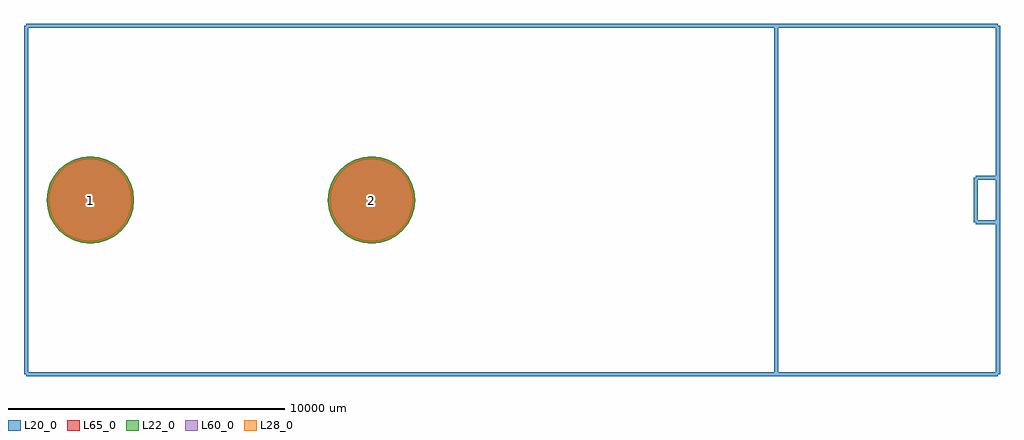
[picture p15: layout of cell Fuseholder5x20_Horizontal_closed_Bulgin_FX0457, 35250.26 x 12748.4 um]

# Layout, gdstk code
import gdstk
lib = gdstk.Library(unit=1e-6, precision=1e-09)
def P(c, l, *ps):  # polygons
    for p in ps: c.add(gdstk.Polygon(p, *l))
L20_0 = (20, 0)
L22_0 = (22, 0)
L28_0 = (28, 0)
L60_0 = (60, 0)
L65_0 = (65, 0)

fuseholder5x20_horizonta = lib.new_cell('Fuseholder5x20_Horizontal_closed_Bulgin_FX0457')
P(fuseholder5x20_horizonta, L22_0, [(-3505.13,0),(-3535.391,307.242),(-3625.01,602.677),(-3770.543,874.951),(-3966.399,1113.601),(-4205.049,1309.457),(-4477.323,1454.99),(-4772.758,1544.609),(-5080,1574.87),(-5387.242,1544.609),(-5682.677,1454.99),(-5954.951,1309.457),(-6193.601,1113.601),(-6389.457,874.951),(-6534.99,602.677),(-6624.609,307.242),(-6654.87,0),(-6624.609,-307.242),(-6534.99,-602.677),(-6389.457,-874.951),(-6193.601,-1113.601),(-5954.951,-1309.457),(-5682.677,-1454.99),(-5387.242,-1544.609),(-5080,-1574.87),(-4772.758,-1544.609),(-4477.323,-1454.99),(-4205.049,-1309.457),(-3966.399,-1113.601),(-3770.543,-874.951),(-3625.01,-602.677),(-3535.391,-307.242)],
  [(6654.87,0),(6624.609,307.242),(6534.99,602.677),(6389.457,874.951),(6193.601,1113.601),(5954.951,1309.457),(5682.677,1454.99),(5387.242,1544.609),(5080,1574.87),(4772.758,1544.609),(4477.323,1454.99),(4205.049,1309.457),(3966.399,1113.601),(3770.543,874.951),(3625.01,602.677),(3535.391,307.242),(3505.13,0),(3535.391,-307.242),(3625.01,-602.677),(3770.543,-874.951),(3966.399,-1113.601),(4205.049,-1309.457),(4477.323,-1454.99),(4772.758,-1544.609),(5080,-1574.87),(5387.242,-1544.609),(5682.677,-1454.99),(5954.951,-1309.457),(6193.601,-1113.601),(6389.457,-874.951),(6534.99,-602.677),(6624.609,-307.242)])
P(fuseholder5x20_horizonta, L28_0, [(-3580.13,0),(-3608.95,292.61),(-3694.301,573.975),(-3832.904,833.283),(-4019.432,1060.568),(-4246.717,1247.096),(-4506.025,1385.699),(-4787.39,1471.05),(-5080,1499.87),(-5372.61,1471.05),(-5653.975,1385.699),(-5913.283,1247.096),(-6140.568,1060.568),(-6327.096,833.283),(-6465.699,573.975),(-6551.05,292.61),(-6579.87,0),(-6551.05,-292.61),(-6465.699,-573.975),(-6327.096,-833.283),(-6140.568,-1060.568),(-5913.283,-1247.096),(-5653.975,-1385.699),(-5372.61,-1471.05),(-5080,-1499.87),(-4787.39,-1471.05),(-4506.025,-1385.699),(-4246.717,-1247.096),(-4019.432,-1060.568),(-3832.904,-833.283),(-3694.301,-573.975),(-3608.95,-292.61)],
  [(6579.87,0),(6551.05,292.61),(6465.699,573.975),(6327.096,833.283),(6140.568,1060.568),(5913.283,1247.096),(5653.975,1385.699),(5372.61,1471.05),(5080,1499.87),(4787.39,1471.05),(4506.025,1385.699),(4246.717,1247.096),(4019.432,1060.568),(3832.904,833.283),(3694.301,573.975),(3608.95,292.61),(3580.13,0),(3608.95,-292.61),(3694.301,-573.975),(3832.904,-833.283),(4019.432,-1060.568),(4246.717,-1247.096),(4506.025,-1385.699),(4787.39,-1471.05),(5080,-1499.87),(5372.61,-1471.05),(5653.975,-1385.699),(5913.283,-1247.096),(6140.568,-1060.568),(6327.096,-833.283),(6465.699,-573.975),(6551.05,-292.61)])
P(fuseholder5x20_horizonta, L60_0, [(-3580.13,0),(-3608.95,292.61),(-3694.301,573.975),(-3832.904,833.283),(-4019.432,1060.568),(-4246.717,1247.096),(-4506.025,1385.699),(-4787.39,1471.05),(-5080,1499.87),(-5372.61,1471.05),(-5653.975,1385.699),(-5913.283,1247.096),(-6140.568,1060.568),(-6327.096,833.283),(-6465.699,573.975),(-6551.05,292.61),(-6579.87,0),(-6551.05,-292.61),(-6465.699,-573.975),(-6327.096,-833.283),(-6140.568,-1060.568),(-5913.283,-1247.096),(-5653.975,-1385.699),(-5372.61,-1471.05),(-5080,-1499.87),(-4787.39,-1471.05),(-4506.025,-1385.699),(-4246.717,-1247.096),(-4019.432,-1060.568),(-3832.904,-833.283),(-3694.301,-573.975),(-3608.95,-292.61)],
  [(6579.87,0),(6551.05,292.61),(6465.699,573.975),(6327.096,833.283),(6140.568,1060.568),(5913.283,1247.096),(5653.975,1385.699),(5372.61,1471.05),(5080,1499.87),(4787.39,1471.05),(4506.025,1385.699),(4246.717,1247.096),(4019.432,1060.568),(3832.904,833.283),(3694.301,573.975),(3608.95,292.61),(3580.13,0),(3608.95,-292.61),(3694.301,-573.975),(3832.904,-833.283),(4019.432,-1060.568),(4246.717,-1247.096),(4506.025,-1385.699),(4787.39,-1471.05),(5080,-1499.87),(5372.61,-1471.05),(5653.975,-1385.699),(5913.283,-1247.096),(6140.568,-1060.568),(6327.096,-833.283),(6465.699,-573.975),(6551.05,-292.61)])
P(fuseholder5x20_horizonta, L65_0, [(-3505.13,0),(-3535.391,307.242),(-3625.01,602.677),(-3770.543,874.951),(-3966.399,1113.601),(-4205.049,1309.457),(-4477.323,1454.99),(-4772.758,1544.609),(-5080,1574.87),(-5387.242,1544.609),(-5682.677,1454.99),(-5954.951,1309.457),(-6193.601,1113.601),(-6389.457,874.951),(-6534.99,602.677),(-6624.609,307.242),(-6654.87,0),(-6624.609,-307.242),(-6534.99,-602.677),(-6389.457,-874.951),(-6193.601,-1113.601),(-5954.951,-1309.457),(-5682.677,-1454.99),(-5387.242,-1544.609),(-5080,-1574.87),(-4772.758,-1544.609),(-4477.323,-1454.99),(-4205.049,-1309.457),(-3966.399,-1113.601),(-3770.543,-874.951),(-3625.01,-602.677),(-3535.391,-307.242)],
  [(6654.87,0),(6624.609,307.242),(6534.99,602.677),(6389.457,874.951),(6193.601,1113.601),(5954.951,1309.457),(5682.677,1454.99),(5387.242,1544.609),(5080,1574.87),(4772.758,1544.609),(4477.323,1454.99),(4205.049,1309.457),(3966.399,1113.601),(3770.543,874.951),(3625.01,602.677),(3535.391,307.242),(3505.13,0),(3535.391,-307.242),(3625.01,-602.677),(3770.543,-874.951),(3966.399,-1113.601),(4205.049,-1309.457),(4477.323,-1454.99),(4772.758,-1544.609),(5080,-1574.87),(5387.242,-1544.609),(5682.677,-1454.99),(5954.951,-1309.457),(6193.601,-1113.601),(6389.457,-874.951),(6534.99,-602.677),(6624.609,-307.242)])
fuseholder5x20_horizonta.add(gdstk.FlexPath([(-7399.02,-6299.2),(-7399.02,6299.2)], 149.998, ends="flush", simple_path=True, layer=20, datatype=0))  # L20_0
fuseholder5x20_horizonta.add(gdstk.FlexPath([(-7399.02,-6299.2),(27701.24,-6299.2)], 149.998, ends="flush", simple_path=True, layer=20, datatype=0))  # L20_0
fuseholder5x20_horizonta.add(gdstk.FlexPath([(27701.24,-6299.2),(27701.24,6299.2)], 149.998, ends="flush", simple_path=True, layer=20, datatype=0))  # L20_0
fuseholder5x20_horizonta.add(gdstk.FlexPath([(27701.24,6299.2),(-7399.02,6299.2)], 149.998, ends="flush", simple_path=True, layer=20, datatype=0))  # L20_0
fuseholder5x20_horizonta.add(gdstk.FlexPath([(19700.24,-6299.2),(19700.24,6299.2)], 149.998, ends="flush", simple_path=True, layer=20, datatype=0))  # L20_0
fuseholder5x20_horizonta.add(gdstk.FlexPath([(26901.14,-800.1),(27701.24,-800.1)], 149.998, ends="flush", simple_path=True, layer=20, datatype=0))  # L20_0
fuseholder5x20_horizonta.add(gdstk.FlexPath([(26901.14,800.1),(26901.14,-800.1)], 149.998, ends="flush", simple_path=True, layer=20, datatype=0))  # L20_0
fuseholder5x20_horizonta.add(gdstk.FlexPath([(27701.24,800.1),(26901.14,800.1)], 149.998, ends="flush", simple_path=True, layer=20, datatype=0))  # L20_0
fuseholder5x20_horizonta.add(gdstk.Label('1', (-5080,0), layer=28, texttype=0))
fuseholder5x20_horizonta.add(gdstk.Label('2', (5080,0), layer=28, texttype=0))
fuseholder5x20_horizonta.add(gdstk.Label('type', (0,-8890), layer=9, texttype=0))
fuseholder5x20_horizonta.add(gdstk.Label('devicename', (279.4,8204.2), layer=9, texttype=0))

lib.write_gds('Fuseholder5x20_Horizontal_closed_Bulgin_FX0457.gds')
